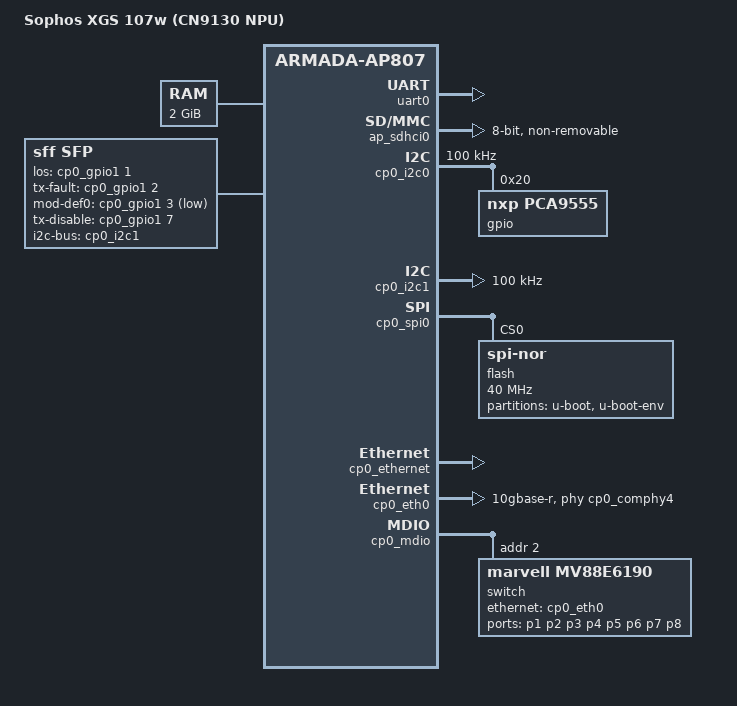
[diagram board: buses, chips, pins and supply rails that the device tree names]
// SPDX-License-Identifier: (GPL-2.0+ OR MIT)
/*
 * Device tree for the network processing unit (NPU) of the Sophos XGS 87/107
 * firewalls: a Marvell CN9130 SoC with a Marvell 88E6193X switch.
 *
 * The x86 host on the same board is not described here.
 */

/dts-v1/;

#include "cn9130.dtsi"
#include <dt-bindings/gpio/gpio.h>

/ {
	model = "Sophos XGS 107w (CN9130 NPU)";
	compatible = "sophos,xgs107w-npu", "marvell,cn9130",
		     "marvell,armada-ap807-quad", "marvell,armada-ap807";

	chosen {
		stdout-path = "serial0:115200n8";
	};

	aliases {
		ethernet0 = &cp0_eth0;
		i2c0 = &cp0_i2c0;
		i2c1 = &cp0_i2c1;
	};

	memory@0 {
		device_type = "memory";
		reg = <0x0 0x0 0x0 0x80000000>;
	};

	reserved-memory {
		/* OP-TEE, reserved by the firmware */
		tee@4400000 {
			reg = <0x0 0x4400000 0x0 0x1000000>;
			no-map;
		};
	};

	/* Front-panel SFP cage "F1", wired to switch port 9 */
	sfp: sfp {
		compatible = "sff,sfp";
		i2c-bus = <&cp0_i2c1>;
		los-gpios = <&cp0_gpio1 1 GPIO_ACTIVE_HIGH>;
		tx-fault-gpios = <&cp0_gpio1 2 GPIO_ACTIVE_HIGH>;
		mod-def0-gpios = <&cp0_gpio1 3 GPIO_ACTIVE_LOW>;
		tx-disable-gpios = <&cp0_gpio1 7 GPIO_ACTIVE_HIGH>;
	};
};

&uart0 {
	status = "okay";
};

/* eMMC on the AP */
&ap_sdhci0 {
	bus-width = <8>;
	non-removable;
	mmc-ddr-1_8v;
	status = "okay";
};

/*
 * The MPP pin muxing is left as configured by the boot loader; the pin
 * controller node only exists to back the GPIO banks.
 */
&cp0_syscon0 {
	cp0_pinctrl: pinctrl {
		compatible = "marvell,cp115-standalone-pinctrl";
	};
};

&cp0_i2c0 {
	clock-frequency = <100000>;
	status = "okay";

	/* Drives the port speed LEDs, which are not described yet */
	gpio@20 {
		compatible = "nxp,pca9555";
		reg = <0x20>;
		gpio-controller;
		#gpio-cells = <2>;
	};
};

&cp0_i2c1 {
	/* SFP EEPROM (0x50/0x51) */
	clock-frequency = <100000>;
	status = "okay";
};

/* 4 MB SPI NOR with U-Boot and its environment, read-only on purpose */
&cp0_spi0 {
	status = "okay";

	flash@0 {
		compatible = "jedec,spi-nor";
		reg = <0>;
		spi-max-frequency = <40000000>;

		partitions {
			compatible = "fixed-partitions";
			#address-cells = <1>;
			#size-cells = <1>;

			partition@0 {
				label = "u-boot";
				reg = <0x0 0x3f0000>;
				read-only;
			};

			partition@3f0000 {
				label = "u-boot-env";
				reg = <0x3f0000 0x10000>;
				read-only;
			};
		};
	};
};

&cp0_ethernet {
	status = "okay";
};

/* 10G link to switch port 0 */
&cp0_eth0 {
	phy-mode = "10gbase-r";
	phys = <&cp0_comphy4 0>;
	managed = "in-band-status";
	status = "okay";
};

&cp0_mdio {
	status = "okay";

	switch@2 {
		compatible = "marvell,mv88e6190";
		reg = <2>;
		/*
		 * The reset line of the switch is CP GPIO2 pin 17. It is not
		 * described as reset-gpios: the 88E6193X needs about two
		 * seconds after a reset before it can be used, much longer
		 * than the driver waits, and the probe would time out. The
		 * boot loader resets the switch before starting the kernel.
		 */

		ports {
			#address-cells = <1>;
			#size-cells = <0>;

			port@0 {
				reg = <0>;
				ethernet = <&cp0_eth0>;
				phy-mode = "10gbase-r";
				managed = "in-band-status";
			};

			port@1 {
				reg = <1>;
				label = "p1";
			};

			port@2 {
				reg = <2>;
				label = "p2";
			};

			port@3 {
				reg = <3>;
				label = "p3";
			};

			port@4 {
				reg = <4>;
				label = "p4";
			};

			port@5 {
				reg = <5>;
				label = "p5";
			};

			port@6 {
				reg = <6>;
				label = "p6";
			};

			port@7 {
				reg = <7>;
				label = "p7";
			};

			port@8 {
				reg = <8>;
				label = "p8";
			};

			port@9 {
				reg = <9>;
				label = "sfp";
				phy-mode = "1000base-x";
				managed = "in-band-status";
				sfp = <&sfp>;
			};
		};
	};
};
